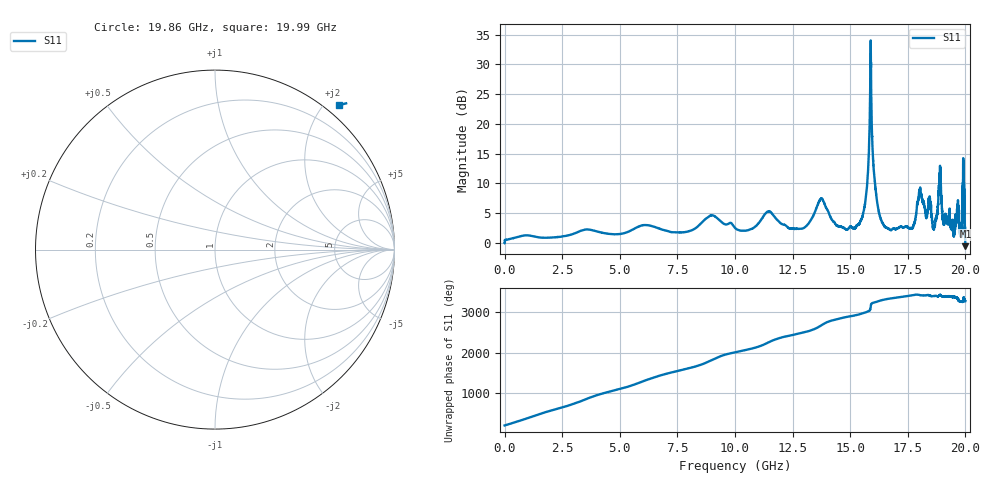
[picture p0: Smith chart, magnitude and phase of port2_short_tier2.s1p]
! Created with skrf 1.8.0 (http://scikit-rf.org).
# GHz S RI R 50.0
!freq ReS11 ImS11
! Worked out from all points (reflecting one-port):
!   10001 points, 1 MHz to 20 GHz, reference 50 ohm
!   lowest |S11| = -0.5 dB at 20 GHz (marker M1), VSWR 32.94, Z = 11.2 + j126 ohm
!   phase of S11 starts at 180 deg and turns +3103 deg over the sweep
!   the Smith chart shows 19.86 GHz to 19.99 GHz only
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0.001  -0.9999 0.000539
2.500875  0.00488 -1.135
3.40283  0.0996 1.281
5.00075  1.174 0.195
6.348683  0.0783 -1.392
7.500625  -0.1557 1.218
8.240588  -1.205 -0.5295
8.966552  1.705 0.1274
10.0005  -1.23 -0.5296
11.08845  1.52 -0.0139
11.45643  -0.1041 1.84
12.50038  0.157 -1.313
13.28434  1.35 0.7609
13.80631  -2.299 0.0724
14.10029  -0.3132 -1.691
15.00025  1.256 0.5473
15.63622  -0.8738 1.9
15.76421  -3.082 2.234
15.79021  -4.094 2.142
15.81821  -6.218 2.204
15.88821  -9.754 -49.04
15.9682  6.333 -0.5063
15.9922  5.008 -0.0755
16.0462  3.583 0.6183
16.31218  0.9038 1.358
17.50013  -1.331 0.2256
18.89606  -3.855 -1.135
20  0.6879 0.6421
